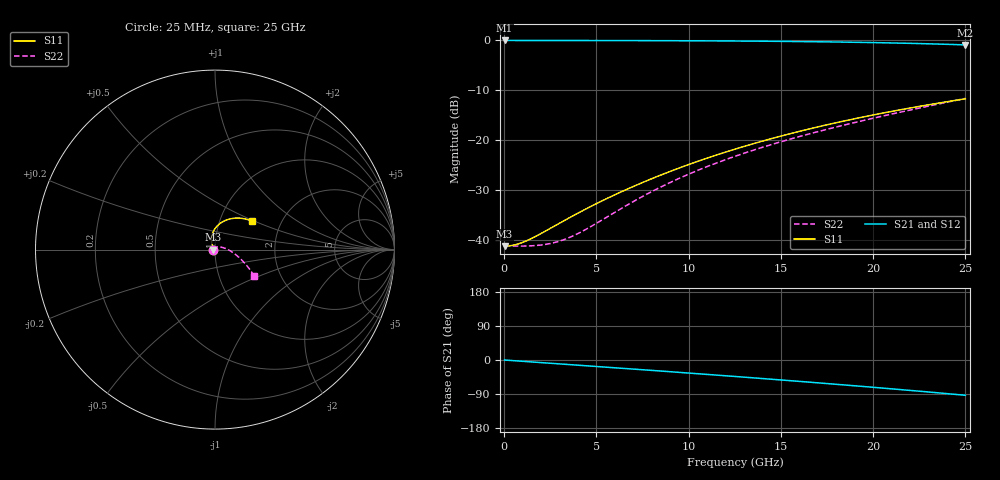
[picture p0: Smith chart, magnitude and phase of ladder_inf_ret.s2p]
! RG_ts6_sw_pwr: kisi's ladder, infinite plates, return groups (Finite board 24 × 16 mm, ThunderScope stack, via F → In3 (stub to B) through In1 GND / In2 PWR / In4 GND, four GND vias at 1 mm joined to In1 and In4 (openings in In2))
# Hz S RI R 50
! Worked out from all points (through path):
!   1000 points, 25 MHz to 25 GHz, reference 50 ohm
!   highest |S21| = -0.08 dB at 25 MHz (marker M1); lowest = -1.0 dB at 25 GHz (marker M2)
!   group delay of S21, straight-line fit = 10.2 ps
!   lowest |S11| = -41.1 dB at 25 MHz (marker M3), VSWR 1.02, Z = 49.1 + j0.0088 ohm
!   |S11| at or under -10 dB: start of sweep to end of sweep
!   |S22| runs from -41.1 to -11.7 dB; largest |S21 - S12| = 0
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2.5e7  -0.00877 8.95e-05  0.9912 -0.00147  0.9912 -0.00147  -0.00877 8.63e-05
5e8  -0.00879 0.00176  0.9908 -0.0293  0.9908 -0.0293  -0.0086 0.00169
1e9  -0.00889 0.0035  0.9894 -0.0586  0.9894 -0.0586  -0.00811 0.00335
1.575e9  -0.00912 0.00552  0.9867 -0.0922  0.9867 -0.0922  -0.00718 0.00518
2.4e9  -0.00968 0.00849  0.9809 -0.1402  0.9809 -0.1402  -0.00516 0.00766
2.85e9  -0.0101 0.0102  0.9767 -0.1663  0.9767 -0.1663  -0.00373 0.00891
3.275e9  -0.0105 0.0118  0.972 -0.1908  0.972 -0.1908  -0.00217 0.01
3.725e9  -0.0111 0.0136  0.9664 -0.2167  0.9664 -0.2167  -0.000302 0.0111
4.2e9  -0.0117 0.0157  0.9597 -0.2439  0.9597 -0.2439  0.0019 0.0121
6.225e9  -0.015 0.0258  0.922 -0.3578  0.922 -0.3578  0.0138 0.0148
7.325e9  -0.0169 0.0326  0.8953 -0.4178  0.8953 -0.4178  0.0217 0.015
8.35e9  -0.0184 0.0398  0.8665 -0.4723  0.8665 -0.4723  0.0299 0.0143
9.325e9  -0.0195 0.0477  0.8356 -0.5225  0.8356 -0.5225  0.0383 0.0128
1.035e10  -0.0199 0.0569  0.7994 -0.5734  0.7994 -0.5734  0.0477 0.0102
1.14e10  -0.0193 0.0675  0.7585 -0.6232  0.7585 -0.6232  0.0579 0.00661
1.2525e10  -0.0171 0.0798  0.7104 -0.6736  0.7104 -0.6736  0.0693 0.00158
1.4475e10  -0.00828 0.1034  0.6169 -0.7524  0.6169 -0.7524  0.0899 -0.00995
1.6675e10  0.0116 0.131  0.4971 -0.8258  0.4971 -0.8258  0.1144 -0.0273
1.8825e10  0.0434 0.1555  0.3672 -0.8785  0.3672 -0.8785  0.1394 -0.0489
2.085e10  0.0858 0.1715  0.2356 -0.9077  0.2356 -0.9077  0.1641 -0.074
2.295e10  0.1417 0.175  0.093 -0.9141  0.093 -0.9141  0.1907 -0.1064
2.5e10  0.2047 0.1593  -0.0479 -0.8937  -0.0479 -0.8937  0.2169 -0.1459
